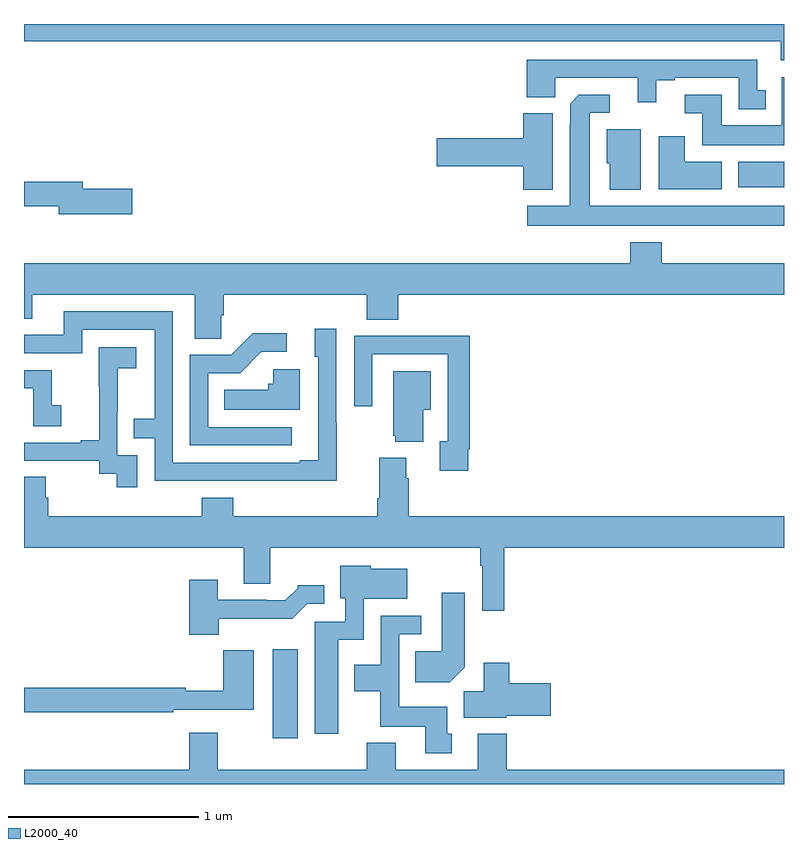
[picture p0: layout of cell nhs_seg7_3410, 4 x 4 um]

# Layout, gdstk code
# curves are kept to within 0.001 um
import gdstk
lib = gdstk.Library(unit=1e-6, precision=1e-09)
def R(c, l, rs):  # rectangles x0, y0, x1, y1
    for r in rs: c.add(gdstk.rectangle(r[:2], r[2:], *l))
def P(c, l, *ps):  # polygons
    for p in ps: c.add(gdstk.Polygon(p, *l))
L2000_40 = (2000, 40)

nhs_seg7_3410 = lib.new_cell('nhs_seg7_3410')
R(nhs_seg7_3410, L2000_40, [(328.31,1038.24,328.441,1038.709), (330.758,1041.14,331,1041.274)])
P(nhs_seg7_3410, L2000_40, [(331,1042),(327,1042),(327,1041.908),(330.983,1041.908),(330.983,1041.809),(331,1041.809)],
  [(330.904,1041.651),(330.858,1041.651),(330.858,1041.813),(329.645,1041.813),(329.645,1041.614),(329.796,1041.614),(329.796,1041.717),(330.23,1041.717),(330.23,1041.588),(330.328,1041.588),(330.328,1041.705),(330.424,1041.705),(330.424,1041.717),(330.762,1041.717),(330.762,1041.551),(330.904,1041.551)],
  [(331,1041.721),(330.989,1041.721),(330.989,1041.466),(330.673,1041.466),(330.673,1041.627),(330.477,1041.627),(330.477,1041.531),(330.569,1041.531),(330.569,1041.362),(331,1041.362)],
  [(331,1041.043),(329.977,1041.043),(329.977,1041.534),(330.082,1041.534),(330.082,1041.627),(329.92,1041.627),(329.874,1041.581),(329.873,1041.043),(329.649,1041.043),(329.649,1040.939),(331,1040.939)],
  [(329.782,1041.529),(329.627,1041.529),(329.627,1041.398),(329.172,1041.398),(329.172,1041.251),(329.627,1041.251),(329.627,1041.128),(329.782,1041.128)],
  [(330.247,1041.445),(330.068,1041.445),(330.068,1041.267),(330.083,1041.267),(330.083,1041.128),(330.247,1041.128)],
  [(330.673,1041.274),(330.478,1041.274),(330.478,1041.409),(330.341,1041.409),(330.341,1041.131),(330.673,1041.131)],
  [(327.571,1041.134),(327.31,1041.134),(327.31,1041.17),(327,1041.17),(327,1041.042),(327.182,1041.042),(327.182,1040.999),(327.571,1040.999)],
  [(328.038,1040.467),(328.052,1040.467),(328.052,1040.576),(328.805,1040.576),(328.805,1040.443),(328.97,1040.443),(328.97,1040.576),(331,1040.576),(331,1040.74),(330.356,1040.74),(330.356,1040.851),(330.191,1040.851),(330.191,1040.74),(327,1040.74),(327,1040.449),(327.043,1040.449),(327.043,1040.576),(327.899,1040.576),(327.899,1040.344),(328.038,1040.344)],
  [(328.647,1039.901),(328.644,1039.901),(328.644,1040.395),(328.529,1040.395),(328.529,1040.25),(328.548,1040.25),(328.548,1039.705),(328.451,1039.705),(328.451,1039.692),(327.783,1039.692),(327.783,1040.487),(327.209,1040.487),(327.209,1040.364),(327,1040.364),(327,1040.268),(327.306,1040.268),(327.306,1040.391),(327.687,1040.391),(327.687,1039.922),(327.577,1039.922),(327.577,1039.821),(327.687,1039.821),(327.687,1039.596),(328.183,1039.596),(328.183,1039.595),(328.647,1039.595)],
  [(328.408,1039.878),(327.969,1039.878),(327.969,1040.163),(328.138,1040.163),(328.249,1040.274),(328.384,1040.274),(328.384,1040.372),(328.205,1040.372),(328.092,1040.259),(327.873,1040.259),(327.873,1039.782),(328.408,1039.782)],
  [(329.338,1039.762),(329.345,1039.762),(329.345,1040.36),(329.053,1040.36),(329.053,1040.358),(328.737,1040.358),(328.737,1039.989),(328.833,1039.989),(328.833,1040.262),(329.229,1040.262),(329.229,1039.805),(329.189,1039.805),(329.189,1039.65),(329.338,1039.65)],
  [(327.597,1039.731),(327.492,1039.731),(327.492,1039.961),(327.494,1039.961),(327.494,1040.189),(327.592,1040.189),(327.592,1040.299),(327.394,1040.299),(327.394,1040.093),(327.395,1040.093),(327.395,1039.81),(327.299,1039.81),(327.299,1039.797),(327,1039.797),(327,1039.701),(327.396,1039.701),(327.396,1039.632),(327.489,1039.632),(327.489,1039.563),(327.597,1039.563)],
  [(328.45,1040.182),(328.311,1040.182),(328.311,1040.106),(328.285,1040.106),(328.285,1040.074),(328.054,1040.074),(328.054,1039.97),(328.45,1039.97)],
  [(327.196,1039.993),(327.147,1039.993),(327.147,1040.178),(327,1040.178),(327,1040.082),(327.048,1040.082),(327.048,1039.884),(327.196,1039.884)],
  [(329.101,1039.97),(329.14,1039.97),(329.14,1040.173),(328.943,1040.173),(328.943,1039.833),(328.955,1039.833),(328.955,1039.802),(329.101,1039.802)],
  [(329.528,1039.244),(331,1039.244),(331,1039.408),(329.024,1039.408),(329.024,1039.61),(329.011,1039.61),(329.011,1039.717),(328.871,1039.717),(328.871,1039.504),(328.859,1039.504),(328.859,1039.408),(328.1,1039.408),(328.1,1039.507),(327.935,1039.507),(327.935,1039.408),(327.128,1039.408),(327.128,1039.506),(327.115,1039.506),(327.115,1039.616),(327,1039.616),(327,1039.244),(328.157,1039.244),(328.157,1039.054),(328.297,1039.054),(328.297,1039.244),(329.4,1039.244),(329.4,1039.148),(329.412,1039.148),(329.412,1038.912),(329.528,1038.912)],
  [(328.654,1038.758),(328.788,1038.758),(328.788,1038.974),(329.017,1038.974),(329.017,1039.132),(328.824,1039.132),(328.824,1039.15),(328.664,1039.15),(328.664,1038.978),(328.692,1038.978),(328.692,1038.855),(328.529,1038.855),(328.529,1038.264),(328.654,1038.264)],
  [(328.024,1038.87),(328.413,1038.87),(328.491,1038.948),(328.579,1038.948),(328.579,1039.045),(328.44,1039.045),(328.44,1039.03),(328.376,1038.966),(328.277,1038.966),(328.277,1038.969),(328.021,1038.969),(328.021,1039.075),(327.869,1039.075),(327.869,1038.785),(328.024,1038.785)],
  [(329.32,1038.614),(329.32,1039.006),(329.198,1039.006),(329.198,1038.7),(329.059,1038.7),(329.059,1038.536),(329.242,1038.536)],
  [(329.251,1038.264),(329.227,1038.264),(329.227,1038.406),(328.974,1038.406),(328.974,1038.789),(329.092,1038.789),(329.092,1038.885),(328.878,1038.885),(328.878,1038.628),(328.739,1038.628),(328.739,1038.488),(328.876,1038.488),(328.876,1038.302),(329.111,1038.302),(329.111,1038.162),(329.251,1038.162)],
  [(327.785,1038.39),(328.21,1038.39),(328.21,1038.703),(328.048,1038.703),(328.048,1038.491),(327.85,1038.491),(327.85,1038.506),(327,1038.506),(327,1038.378),(327.785,1038.378)],
  [(329.538,1038.359),(329.773,1038.359),(329.773,1038.53),(329.555,1038.53),(329.555,1038.637),(329.42,1038.637),(329.42,1038.488),(329.315,1038.488),(329.315,1038.35),(329.538,1038.35)],
  [(331,1038.076),(329.54,1038.076),(329.54,1038.265),(329.387,1038.265),(329.387,1038.076),(328.957,1038.076),(328.957,1038.217),(328.805,1038.217),(328.805,1038.076),(328.021,1038.076),(328.021,1038.271),(327.869,1038.271),(327.869,1038.076),(327,1038.076),(327,1038),(331,1038)])

lib.write_gds('nhs_seg7_3410.gds')
